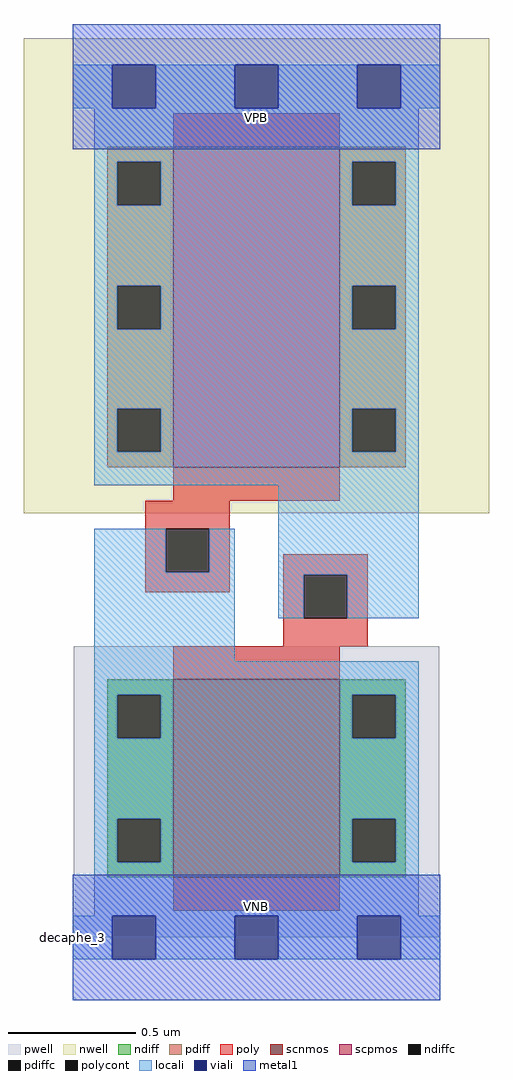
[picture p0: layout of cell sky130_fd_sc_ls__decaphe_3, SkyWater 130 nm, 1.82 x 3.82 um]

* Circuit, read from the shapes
.subckt sky130_fd_sc_ls__decaphe_3 VGND VNB VPB VPWR
XM1 VGND VPWR VGND VNB sky130_fd_pr__nfet_01v8 w=0.775 l=0.65
XM2 VPWR VGND VPWR VPB sky130_fd_pr__pfet_01v8 w=1.255 l=0.65
.ends

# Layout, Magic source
magic
tech sky130A
magscale 1 2
<< nwell >>
rect -38 332 326 704
<< pwell >>
rect 1 49 287 228
rect 0 0 288 49
<< scnmos >>
rect 79 47 209 202
<< scpmos >>
rect 79 368 209 619
<< ndiff >>
rect 27 190 79 202
rect 27 156 35 190
rect 69 156 79 190
rect 27 93 79 156
rect 27 59 35 93
rect 69 59 79 93
rect 27 47 79 59
rect 209 190 261 202
rect 209 156 219 190
rect 253 156 261 190
rect 209 93 261 156
rect 209 59 219 93
rect 253 59 261 93
rect 209 47 261 59
<< pdiff >>
rect 27 607 79 619
rect 27 573 35 607
rect 69 573 79 607
rect 27 510 79 573
rect 27 476 35 510
rect 69 476 79 510
rect 27 414 79 476
rect 27 380 35 414
rect 69 380 79 414
rect 27 368 79 380
rect 209 607 261 619
rect 209 573 219 607
rect 253 573 261 607
rect 209 510 261 573
rect 209 476 219 510
rect 253 476 261 510
rect 209 414 261 476
rect 209 380 219 414
rect 253 380 261 414
rect 209 368 261 380
<< ndiffc >>
rect 35 156 69 190
rect 35 59 69 93
rect 219 156 253 190
rect 219 59 253 93
<< pdiffc >>
rect 35 573 69 607
rect 35 476 69 510
rect 35 380 69 414
rect 219 573 253 607
rect 219 476 253 510
rect 219 380 253 414
<< poly >>
rect 79 619 209 645
rect 79 342 209 368
rect 57 320 123 342
rect 57 286 73 320
rect 107 286 123 320
rect 57 270 123 286
rect 165 284 231 300
rect 165 250 181 284
rect 215 250 231 284
rect 165 228 231 250
rect 79 202 209 228
rect 79 21 209 47
<< polycont >>
rect 73 286 107 320
rect 181 250 215 284
<< locali >>
rect 0 649 31 683
rect 65 649 127 683
rect 161 649 223 683
rect 257 649 288 683
rect 17 607 271 649
rect 17 573 35 607
rect 69 573 219 607
rect 253 573 271 607
rect 17 510 271 573
rect 17 476 35 510
rect 69 476 219 510
rect 253 476 271 510
rect 17 414 271 476
rect 17 380 35 414
rect 69 380 219 414
rect 253 380 271 414
rect 17 354 271 380
rect 17 286 73 320
rect 107 286 127 320
rect 17 216 127 286
rect 161 284 271 354
rect 161 250 181 284
rect 215 250 271 284
rect 17 190 271 216
rect 17 156 35 190
rect 69 156 219 190
rect 253 156 271 190
rect 17 93 271 156
rect 17 59 35 93
rect 69 59 219 93
rect 253 59 271 93
rect 17 17 271 59
rect 0 -17 31 17
rect 65 -17 127 17
rect 161 -17 223 17
rect 257 -17 288 17
<< viali >>
rect 31 649 65 683
rect 127 649 161 683
rect 223 649 257 683
rect 31 -17 65 17
rect 127 -17 161 17
rect 223 -17 257 17
<< metal1 >>
rect 0 683 288 715
rect 0 649 31 683
rect 65 649 127 683
rect 161 649 223 683
rect 257 649 288 683
rect 0 617 288 649
rect 0 17 288 49
rect 0 -17 31 17
rect 65 -17 127 17
rect 161 -17 223 17
rect 257 -17 288 17
rect 0 -49 288 -17
<< labels >>
rlabel comment s 0 0 0 0 4 decaphe_3
flabel pwell s 0 0 288 49 0 FreeSans 200 0 0 0 VNB
port 2 nsew ground bidirectional
flabel nwell s 0 617 288 666 0 FreeSans 200 0 0 0 VPB
port 3 nsew power bidirectional
flabel metal1 s 0 617 288 666 0 FreeSans 200 0 0 0 VPWR
port 4 nsew power bidirectional abutment
flabel metal1 s 0 0 288 49 0 FreeSans 200 0 0 0 VGND
port 1 nsew ground bidirectional abutment
<< properties >>
string LEFsite unit
string LEFclass CORE
string FIXED_BBOX 0 0 288 666
string GDS_FILE $PDKPATH/libs.ref/sky130_fd_sc_ls/gds/sky130_fd_sc_ls.gds
string LEFsymmetry X Y R90
string GDS_END 3516476
string GDS_START 3513676
<< end >>
